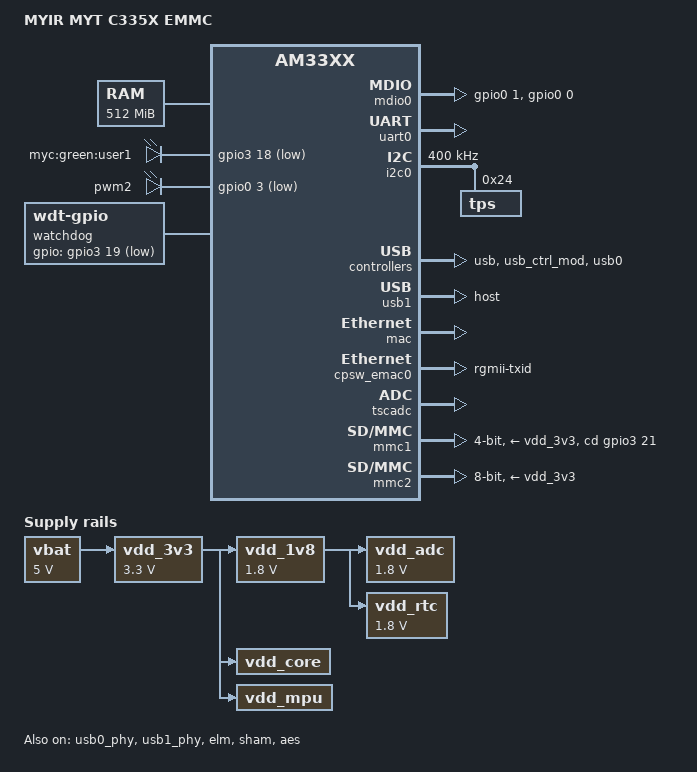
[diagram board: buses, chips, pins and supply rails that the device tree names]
/*
 * Copyright (C) 2012 Texas Instruments Incorporated - http://www.ti.com/
 *
 * This program is free software; you can redistribute it and/or modify
 * it under the terms of the GNU General Public License version 2 as
 * published by the Free Software Foundation.
 */
/dts-v1/;

#include "am33xx.dtsi"
#include <dt-bindings/interrupt-controller/irq.h>

/ {
	model = "MYIR MYT C335X EMMC";
	compatible = "ti,myt_c335x", "ti,am33xx";

	cpus {
		cpu@0 {
			cpu0-supply = <&vdd_core>;
		};
	};

	memory {
		device_type = "memory";
		reg = <0x80000000 0x20000000>; /* 512 MB */
	};

	vbat: fixedregulator@0 {
		compatible = "regulator-fixed";
		regulator-name = "vbat";
		regulator-min-microvolt = <5000000>;
		regulator-max-microvolt = <5000000>;
		regulator-boot-on;
		regulator-always-on;
	};
	
	vdd_3v3: fixedregulator@1{
		compatible = "regulator-fixed";
		regulator-name = "vdd_3v3";
		regulator-min-microvolt = <3300000>;
		regulator-max-microvolt = <3300000>;
		vin-supply = <&vbat>;
		regulator-boot-on;
		regulator-always-on;
		};
	
	vdd_1v8: fixedregulator@2{
		compatible = "regulator-fixed";
		regulator-name = "vdd_1v8";
		regulator-min-microvolt = <1800000>;
		regulator-max-microvolt = <1800000>;
		vin-supply = <&vdd_3v3>;
		regulator-boot-on;
		regulator-always-on;
		};
	
	vdd_core: fixedregulator@4{
		compatible = "regulator-fixed";
		regulator-name = "vdd_core";
		vin-supply = <&vdd_3v3>;
		regulator-boot-on;
		regulator-always-on;
		};
	
	vdd_mpu: fixedregulator@5{
		compatible = "regulator-fixed";
		regulator-name = "vdd_mpu";
		vin-supply = <&vdd_3v3>;
		regulator-boot-on;
		regulator-always-on;
		};
	
	vdd_adc: fixedregulator@6{
		compatible = "regulator-fixed";
		regulator-name = "vdd_adc";
		regulator-min-microvolt = <1800000>;
		regulator-max-microvolt = <1800000>;
		vin-supply = <&vdd_1v8>;
		regulator-boot-on;
		regulator-always-on;
		};
	
	vdd_rtc: fixedregulator@7{
		compatible = "regulator-fixed";
		regulator-name = "vdd_rtc";
		regulator-min-microvolt = <1800000>;
		regulator-max-microvolt = <1800000>;
		vin-supply = <&vdd_1v8>;
		regulator-boot-on;
		regulator-always-on;
		};


	gpio-leds {
		compatible = "gpio-leds";
		pinctrl-names = "default";
		pinctrl-0 = <&leds_pins>;

		D3 {
			label = "myc:green:user1";
			gpios = <&gpio3 18 GPIO_ACTIVE_LOW>;
			linux,default-trigger = "cpu0";
			default-state = "off";
		};

//		PWM1 {
//			label = "pwm1";
//			gpios = <&gpio0 2 GPIO_ACTIVE_LOW>;
//			default-state = "off";
//		};

		PWM2 {
			label = "pwm2";
			gpios = <&gpio0 3 GPIO_ACTIVE_LOW>;
			default-state = "off";
		};
	};

	watchdog: watchdog {
		/* CAT823T */
		compatible = "linux,wdt-gpio";
		pinctrl-names = "default";
		pinctrl-0 = <&watchdog_pins>;
		gpios = <&gpio3 19 GPIO_ACTIVE_LOW>;
		hw_algo = "toggle";
		always-running;
		hw_margin_ms = <1000>;
	};
	
	aliases { mdio-gpio0 = &mdio0; };
	mdio0: mdio{
		compatible = "virtual,mdio-gpio";
		pinctrl-names = "default", "sleep";
		pinctrl-0 = <&davinci_mdio_default>;
		pinctrl-1 = <&davinci_mdio_sleep>;
	
		#address-cells = <1>;
		#size-cells = <0>;
		gpios = <&gpio0 1  GPIO_ACTIVE_HIGH>, <&gpio0 0 GPIO_ACTIVE_HIGH>; 
	}; 
	
	
};

&am33xx_pinmux {
	pinctrl-names = "default";
	pinctrl-0 = <&gpio_pins_default>;
	
	watchdog_pins: pinmux_watchdog_pins{
		pinctrl-single,pins = <0x1A4 ( PIN_OUTPUT_PULLDOWN | MUX_MODE7 ) /* (C13) mcasp0_fsr.gpio3[19] */>;
	};


	gpio_pins_default: gpio_pins_default {
	pinctrl-single,pins = <
// 0
//		0x148 ( PIN_INPUT_PULLUP | MUX_MODE7 ) /* (M17) mdio_data.gpio0[0] */
//		0x14c ( PIN_INPUT_PULLUP | MUX_MODE7 ) /* (M18) mdio_clk.gpio0[1] */
		0x150 ( PIN_INPUT_PULLUP | MUX_MODE7 ) /* (A17) spi0_sclk.gpio0[2] */
//		0x154 ( PIN_INPUT_PULLUP | MUX_MODE7 ) /* (B17) spi0_d0.gpio0[3] */
		0x158 ( PIN_INPUT_PULLUP | MUX_MODE7 ) /* (B16) spi0_d1.gpio0[4] */
		0x15c ( PIN_INPUT_PULLUP | MUX_MODE7 ) /* (A16) spi0_cs0.gpio0[5] */
		0x160 ( PIN_INPUT_PULLUP | MUX_MODE7 ) /* (C15) spi0_cs1.gpio0[6] */
		0x164 ( PIN_INPUT_PULLUP | MUX_MODE7 ) /* (C18) eCAP0_in_PWM0_out.gpio0[7] */
		0xd0 ( PIN_INPUT_PULLUP | MUX_MODE7 ) /* (V2) lcd_data12.gpio0[8] */
		0xd4 ( PIN_INPUT_PULLUP | MUX_MODE7 ) /* (V3) lcd_data13.gpio0[9] */
		0xd8 ( PIN_INPUT_PULLUP | MUX_MODE7 ) /* (V4) lcd_data14.gpio0[10] */
		0xdc ( PIN_INPUT_PULLUP | MUX_MODE7 ) /* (T5) lcd_data15.gpio0[11] */
		0x178 ( PIN_INPUT_PULLUP | MUX_MODE7 ) /* (D18) uart1_ctsn.gpio0[12] */
		0x17c ( PIN_INPUT_PULLUP | MUX_MODE7 ) /* (D17) uart1_rtsn.gpio0[13] */
		0x180 ( PIN_INPUT_PULLUP | MUX_MODE7 ) /* (D16) uart1_rxd.gpio0[14] */
		0x184 ( PIN_INPUT_PULLUP | MUX_MODE7 ) /* (D15) uart1_txd.gpio0[15] */
		0x21c ( PIN_INPUT_PULLUP | MUX_MODE7 ) /* (F16) USB0_DRVVBUS.gpio0[18] */
		0x1b0 ( PIN_INPUT_PULLUP | MUX_MODE7 ) /* (A15) xdma_event_intr0.gpio0[19] */
//		0x1b4 ( PIN_INPUT_PULLUP | MUX_MODE7 ) /* (D14) xdma_event_intr1.gpio0[20] */
		0x20 ( PIN_INPUT_PULLUP | MUX_MODE7 ) /* (U10) gpmc_ad8.gpio0[22] */
		0x24 ( PIN_INPUT_PULLUP | MUX_MODE7 ) /* (T10) gpmc_ad9.gpio0[23] */
		0x28 ( PIN_INPUT_PULLUP | MUX_MODE7 ) /* (T11) gpmc_ad10.gpio0[26] */
		0x2c ( PIN_INPUT_PULLUP | MUX_MODE7 ) /* (U12) gpmc_ad11.gpio0[27] */
		0x144 ( PIN_INPUT_PULLUP | MUX_MODE7 ) /* (H18) rmii1_refclk.gpio0[29] */
		0x70 ( PIN_INPUT_PULLUP | MUX_MODE7 ) /* (T17) gpmc_wait0.gpio0[30] */
		0x74 ( PIN_INPUT_PULLUP | MUX_MODE7 ) /* (U17) gpmc_wpn.gpio0[31] */
// 1
//		0x1c ( PIN_INPUT_PULLUP | MUX_MODE7 ) /* (T9) gpmc_ad7.gpio1[7] */
		0x168 ( PIN_INPUT_PULLUP | MUX_MODE7 ) /* (E18) uart0_ctsn.gpio1[8] */
		0x16c ( PIN_INPUT_PULLUP | MUX_MODE7 ) /* (E17) uart0_rtsn.gpio1[9] */
		0x30 ( PIN_INPUT_PULLUP | MUX_MODE7 ) /* (T12) gpmc_ad12.gpio1[12] */
		0x34 ( PIN_INPUT_PULLUP | MUX_MODE7 ) /* (R12) gpmc_ad13.gpio1[13] */
		0x38 ( PIN_INPUT_PULLUP | MUX_MODE7 ) /* (V13) gpmc_ad14.gpio1[14] */
		0x3c ( PIN_INPUT_PULLUP | MUX_MODE7 ) /* (U13) gpmc_ad15.gpio1[15] */
		0x40 ( PIN_INPUT_PULLUP | MUX_MODE7 ) /* (R13) gpmc_a0.gpio1[16] */
		0x44 ( PIN_INPUT_PULLUP | MUX_MODE7 ) /* (V14) gpmc_a1.gpio1[17] */
		0x48 ( PIN_INPUT_PULLUP | MUX_MODE7 ) /* (U14) gpmc_a2.gpio1[18] */
		0x4c ( PIN_INPUT_PULLUP | MUX_MODE7 ) /* (T14) gpmc_a3.gpio1[19] */
		0x50 ( PIN_INPUT_PULLUP | MUX_MODE7 ) /* (R14) gpmc_a4.gpio1[20] */
		0x54 ( PIN_INPUT_PULLUP | MUX_MODE7 ) /* (V15) gpmc_a5.gpio1[21] */
		0x58 ( PIN_INPUT_PULLUP | MUX_MODE7 ) /* (U15) gpmc_a6.gpio1[22] */
		0x5c ( PIN_INPUT_PULLUP | MUX_MODE7 ) /* (T15) gpmc_a7.gpio1[23] */
		0x60 ( PIN_INPUT_PULLUP | MUX_MODE7 ) /* (V16) gpmc_a8.gpio1[24] */
		0x64 ( PIN_INPUT_PULLUP | MUX_MODE7 ) /* (U16) gpmc_a9.gpio1[25] */
		0x68 ( PIN_INPUT_PULLUP | MUX_MODE7 ) /* (T16) gpmc_a10.gpio1[26] */
		0x6c ( PIN_INPUT_PULLUP | MUX_MODE7 ) /* (V17) gpmc_a11.gpio1[27] */
// 2
		0x88 ( PIN_INPUT_PULLUP | MUX_MODE7 ) /* (T13) gpmc_csn3.gpio2[0] */
		0x8c ( PIN_INPUT_PULLUP | MUX_MODE7 ) /* (V12) gpmc_clk.gpio2[1] */
		0x90 ( PIN_INPUT_PULLUP | MUX_MODE7 ) /* (R7) gpmc_advn_ale.gpio2[2] */
		0x94 ( PIN_INPUT_PULLUP | MUX_MODE7 ) /* (T7) gpmc_oen_ren.gpio2[3] */
		0x98 ( PIN_INPUT_PULLUP | MUX_MODE7 ) /* (U6) gpmc_wen.gpio2[4] */
		0x9c ( PIN_INPUT_PULLUP | MUX_MODE7 ) /* (T6) gpmc_be0n_cle.gpio2[5] */
		0xa0 ( PIN_INPUT_PULLUP | MUX_MODE7 ) /* (R1) lcd_data0.gpio2[6] */
		0xa4 ( PIN_INPUT_PULLUP | MUX_MODE7 ) /* (R2) lcd_data1.gpio2[7] */
		0xa8 ( PIN_INPUT_PULLUP | MUX_MODE7 ) /* (R3) lcd_data2.gpio2[8] */
		0xac ( PIN_INPUT_PULLUP | MUX_MODE7 ) /* (R4) lcd_data3.gpio2[9] */
		0xb0 ( PIN_INPUT_PULLUP | MUX_MODE7 ) /* (T1) lcd_data4.gpio2[10] */
		0xb4 ( PIN_INPUT_PULLUP | MUX_MODE7 ) /* (T2) lcd_data5.gpio2[11] */
		0xb8 ( PIN_INPUT_PULLUP | MUX_MODE7 ) /* (T3) lcd_data6.gpio2[12] */
		0xbc ( PIN_INPUT_PULLUP | MUX_MODE7 ) /* (T4) lcd_data7.gpio2[13] */
		0xc0 ( PIN_INPUT_PULLUP | MUX_MODE7 ) /* (U1) lcd_data8.gpio2[14] */
		0xc4 ( PIN_INPUT_PULLUP | MUX_MODE7 ) /* (U2) lcd_data9.gpio2[15] */
		0xc8 ( PIN_INPUT_PULLUP | MUX_MODE7 ) /* (U3) lcd_data10.gpio2[16] */
		0xcc ( PIN_INPUT_PULLUP | MUX_MODE7 ) /* (U4) lcd_data11.gpio2[17] */
		0xe0 ( PIN_INPUT_PULLUP | MUX_MODE7 ) /* (U5) lcd_vsync.gpio2[22] */
		0xe4 ( PIN_INPUT_PULLUP | MUX_MODE7 ) /* (R5) lcd_hsync.gpio2[23] */
		0xe8 ( PIN_INPUT_PULLUP | MUX_MODE7 ) /* (V5) lcd_pclk.gpio2[24] */
		0xec ( PIN_INPUT_PULLUP | MUX_MODE7 ) /* (R6) lcd_ac_bias_en.gpio2[25] */
// 3
		0x108 ( PIN_INPUT_PULLUP | MUX_MODE7 ) /* (H16) gmii1_col.gpio3[0] */
		0x10c ( PIN_INPUT_PULLUP | MUX_MODE7 ) /* (H17) gmii1_crs.gpio3[1] */
		0x110 ( PIN_INPUT_PULLUP | MUX_MODE7 ) /* (J15) gmii1_rxer.gpio3[2] */
		0x1e4 ( PIN_INPUT_PULLUP | MUX_MODE7 ) /* (C14) EMU0.gpio3[7] */
		0x1e8 ( PIN_INPUT_PULLUP | MUX_MODE7 ) /* (B14) EMU1.gpio3[8] */
		0x234 ( PIN_INPUT_PULLUP | MUX_MODE7 ) /* (F15) USB1_DRVVBUS.gpio3[13] */
		0x190 ( PIN_INPUT_PULLUP | MUX_MODE7 ) /* (A13) mcasp0_aclkx.gpio3[14] */
		0x194 ( PIN_INPUT_PULLUP | MUX_MODE7 ) /* (B13) mcasp0_fsx.gpio3[15] */
		0x198 ( PIN_INPUT_PULLUP | MUX_MODE7 ) /* (D12) mcasp0_axr0.gpio3[16] */
		0x19c ( PIN_INPUT_PULLUP | MUX_MODE7 ) /* (C12) mcasp0_ahclkr.gpio3[17] */
//		0x1a0 ( PIN_INPUT_PULLUP | MUX_MODE7 ) /* (B12) mcasp0_aclkr.gpio3[18] */
//		0x1a4 ( PIN_INPUT_PULLUP | MUX_MODE7 ) /* (C13) mcasp0_fsr.gpio3[19] */
		0x1a8 ( PIN_INPUT_PULLUP | MUX_MODE7 ) /* (D13) mcasp0_axr1.gpio3[20] */
	>;
};
	leds_pins: pinmux_leds_pins {
		pinctrl-single,pins = <
//		0x150 ( PIN_OUTPUT_PULLDOWN | MUX_MODE7 ) /* (A17) spi0_sclk.gpio0[2] */
		0x154 ( PIN_OUTPUT_PULLDOWN | MUX_MODE7 ) /* (B17) spi0_d0.gpio0[3] */
		0x1A0 ( PIN_OUTPUT_PULLDOWN | MUX_MODE7)  /* (B12) mcasp0_aclkr.gpio3[18] */
		>;
	};
	
	i2c0_pins: pinmux_i2c0_pins {
		pinctrl-single,pins = <
			0x188 (PIN_INPUT_PULLUP | MUX_MODE0)	/* i2c0_sda.i2c0_sda */
			0x18c (PIN_INPUT_PULLUP | MUX_MODE0)	/* i2c0_scl.i2c0_scl */
		>;
	};

	uart0_pins: pinmux_uart0_pins {
		pinctrl-single,pins = <
			0x170 (PIN_INPUT_PULLUP | MUX_MODE0)	/* uart0_rxd.uart0_rxd */
			0x174 (PIN_OUTPUT_PULLDOWN | MUX_MODE0)	/* uart0_txd.uart0_txd */
		>;
	};

	nandflash_pins_default: nandflash_pins_default {
		pinctrl-single,pins = <
			0x0 (PIN_INPUT_PULLUP | MUX_MODE0)	/* gpmc_ad0.gpmc_ad0 */
			0x4 (PIN_INPUT_PULLUP | MUX_MODE0)	/* gpmc_ad1.gpmc_ad1 */
			0x8 (PIN_INPUT_PULLUP | MUX_MODE0)	/* gpmc_ad2.gpmc_ad2 */
			0xc (PIN_INPUT_PULLUP | MUX_MODE0)	/* gpmc_ad3.gpmc_ad3 */
			0x10 (PIN_INPUT_PULLUP | MUX_MODE0)	/* gpmc_ad4.gpmc_ad4 */
			0x14 (PIN_INPUT_PULLUP | MUX_MODE0)	/* gpmc_ad5.gpmc_ad5 */
			0x18 (PIN_INPUT_PULLUP | MUX_MODE0)	/* gpmc_ad6.gpmc_ad6 */
			0x1c (PIN_INPUT_PULLUP | MUX_MODE0)	/* gpmc_ad7.gpmc_ad7 */
			0x70 (PIN_INPUT_PULLUP | MUX_MODE0)	/* gpmc_wait0.gpmc_wait0 */
			0x74 (PIN_INPUT_PULLUP | MUX_MODE7)	/* gpmc_wpn.gpio0_30 */
			0x7c (PIN_OUTPUT | MUX_MODE0)		/* gpmc_csn0.gpmc_csn0  */
			0x90 (PIN_OUTPUT | MUX_MODE0)		/* gpmc_advn_ale.gpmc_advn_ale */
			0x94 (PIN_OUTPUT | MUX_MODE0)		/* gpmc_oen_ren.gpmc_oen_ren */
			0x98 (PIN_OUTPUT | MUX_MODE0)		/* gpmc_wen.gpmc_wen */
			0x9c (PIN_OUTPUT | MUX_MODE0)		/* gpmc_be0n_cle.gpmc_be0n_cle */
		>;
	};

	nandflash_pins_sleep: nandflash_pins_sleep {
		pinctrl-single,pins = <
			0x0 (PIN_INPUT_PULLDOWN | MUX_MODE7)
			0x4 (PIN_INPUT_PULLDOWN | MUX_MODE7)
			0x8 (PIN_INPUT_PULLDOWN | MUX_MODE7)
			0xc (PIN_INPUT_PULLDOWN | MUX_MODE7)
			0x10 (PIN_INPUT_PULLDOWN | MUX_MODE7)
			0x14 (PIN_INPUT_PULLDOWN | MUX_MODE7)
			0x18 (PIN_INPUT_PULLDOWN | MUX_MODE7)
			0x1c (PIN_INPUT_PULLDOWN | MUX_MODE7)
			0x70 (PIN_INPUT_PULLDOWN | MUX_MODE7)
			0x74 (PIN_INPUT_PULLDOWN | MUX_MODE7)
			0x7c (PIN_INPUT_PULLDOWN | MUX_MODE7)
			0x90 (PIN_INPUT_PULLDOWN | MUX_MODE7)
			0x94 (PIN_INPUT_PULLDOWN | MUX_MODE7)
			0x98 (PIN_INPUT_PULLDOWN | MUX_MODE7)
			0x9c (PIN_INPUT_PULLDOWN | MUX_MODE7)
		>;
	};

	cpsw_default: cpsw_default {
		pinctrl-single,pins = <
			/* Slave 1 */
			0x114 (PIN_OUTPUT_PULLDOWN | MUX_MODE2)	/* mii1_txen.rgmii1_tctl */
			0x118 (PIN_INPUT_PULLDOWN | MUX_MODE2)	/* mii1_rxdv.rgmii1_rctl */
			0x11c (PIN_OUTPUT_PULLDOWN | MUX_MODE2)	/* mii1_txd3.rgmii1_td3 */
			0x120 (PIN_OUTPUT_PULLDOWN | MUX_MODE2)	/* mii1_txd2.rgmii1_td2 */
			0x124 (PIN_OUTPUT_PULLDOWN | MUX_MODE2)	/* mii1_txd1.rgmii1_td1 */
			0x128 (PIN_OUTPUT_PULLDOWN | MUX_MODE2)	/* mii1_txd0.rgmii1_td0 */
			0x12c (PIN_OUTPUT_PULLDOWN | MUX_MODE2)	/* mii1_txclk.rgmii1_tclk */
			0x130 (PIN_INPUT_PULLDOWN | MUX_MODE2)	/* mii1_rxclk.rgmii1_rclk */
			0x134 (PIN_INPUT_PULLDOWN | MUX_MODE2)	/* mii1_rxd3.rgmii1_rd3 */
			0x138 (PIN_INPUT_PULLDOWN | MUX_MODE2)	/* mii1_rxd2.rgmii1_rd2 */
			0x13c (PIN_INPUT_PULLDOWN | MUX_MODE2)	/* mii1_rxd1.rgmii1_rd1 */
			0x140 (PIN_INPUT_PULLDOWN | MUX_MODE2)	/* mii1_rxd0.rgmii1_rd0 */
		>;
	};

	cpsw_sleep: cpsw_sleep {
		pinctrl-single,pins = <
			/* Slave 1 reset value */
			0x114 (PIN_INPUT_PULLDOWN | MUX_MODE7)
			0x118 (PIN_INPUT_PULLDOWN | MUX_MODE7)
			0x11c (PIN_INPUT_PULLDOWN | MUX_MODE7)
			0x120 (PIN_INPUT_PULLDOWN | MUX_MODE7)
			0x124 (PIN_INPUT_PULLDOWN | MUX_MODE7)
			0x128 (PIN_INPUT_PULLDOWN | MUX_MODE7)
			0x12c (PIN_INPUT_PULLDOWN | MUX_MODE7)
			0x130 (PIN_INPUT_PULLDOWN | MUX_MODE7)
			0x134 (PIN_INPUT_PULLDOWN | MUX_MODE7)
			0x138 (PIN_INPUT_PULLDOWN | MUX_MODE7)
			0x13c (PIN_INPUT_PULLDOWN | MUX_MODE7)
			0x140 (PIN_INPUT_PULLDOWN | MUX_MODE7)
		>;
	};

	davinci_mdio_default: davinci_mdio_default {
		pinctrl-single,pins = <
			/* MDIO */
			0x148 (PIN_INPUT_PULLUP | SLEWCTRL_FAST | MUX_MODE7)	/* mdio_data.mdio_data */
			0x14c (PIN_OUTPUT_PULLUP | MUX_MODE7)			/* mdio_clk.mdio_clk */
		>;
	};

	davinci_mdio_sleep: davinci_mdio_sleep {
		pinctrl-single,pins = <
			/* MDIO reset value */
			0x148 (PIN_INPUT_PULLDOWN | MUX_MODE7)
			0x14c (PIN_INPUT_PULLDOWN | MUX_MODE7)
		>;
	};

	mmc1_pins_default: pinmux_mmc1_pins {
		pinctrl-single,pins = <
			0x0F0 (PIN_INPUT_PULLUP | MUX_MODE0)    /* mmc0_dat3.mmc0_dat3 */
			0x0F4 (PIN_INPUT_PULLUP | MUX_MODE0)    /* mmc0_dat2.mmc0_dat2 */
			0x0F8 (PIN_INPUT_PULLUP | MUX_MODE0)    /* mmc0_dat1.mmc0_dat1 */
			0x0FC (PIN_INPUT_PULLUP | MUX_MODE0)    /* mmc0_dat0.mmc0_dat0 */
			0x100 (PIN_INPUT_PULLUP | MUX_MODE0)    /* mmc0_clk.mmc0_clk */
			0x104 (PIN_INPUT_PULLUP | MUX_MODE0)    /* mmc0_cmd.mmc0_cmd */
			0x1AC (PIN_INPUT_PULLUP | MUX_MODE7)    /* mcasp0_ahclkx.gpio3_21 */
			
		>;
	};

	mmc1_pins_sleep: pinmux_mmc1_pins_sleep {
		pinctrl-single,pins = <
			0x0F0 (PIN_INPUT_PULLDOWN | MUX_MODE7)
			0x0F4 (PIN_INPUT_PULLDOWN | MUX_MODE7)
			0x0F8 (PIN_INPUT_PULLDOWN | MUX_MODE7)
			0x0FC (PIN_INPUT_PULLDOWN | MUX_MODE7)
			0x100 (PIN_INPUT_PULLDOWN | MUX_MODE7)
			0x104 (PIN_INPUT_PULLDOWN | MUX_MODE7)
			0x1AC (PIN_INPUT_PULLDOWN | MUX_MODE7)
		>;
	};
	
	emmc_pins: pinmux_emmc {
		pinctrl-single,pins = <
			0x80 (PIN_INPUT_PULLUP | MUX_MODE2)	/* gpmc_csn1.mmc1_clk */
			0x84 (PIN_INPUT_PULLUP | MUX_MODE2)	/* gpmc_csn2.mmc1_cmd */
			0x00 (PIN_INPUT_PULLUP | MUX_MODE1)	/* gpmc_ad0.mmc1_dat0 */
			0x04 (PIN_INPUT_PULLUP | MUX_MODE1)	/* gpmc_ad1.mmc1_dat1 */
			0x08 (PIN_INPUT_PULLUP | MUX_MODE1)	/* gpmc_ad2.mmc1_dat2 */
			0x0c (PIN_INPUT_PULLUP | MUX_MODE1)	/* gpmc_ad3.mmc1_dat3 */
			0x10 (PIN_INPUT_PULLUP | MUX_MODE1)	/* gpmc_ad4.mmc1_dat4 */
			0x14 (PIN_INPUT_PULLUP | MUX_MODE1)	/* gpmc_ad5.mmc1_dat5 */
			0x18 (PIN_INPUT_PULLUP | MUX_MODE1)	/* gpmc_ad6.mmc1_dat6 */
			0x1c (PIN_INPUT_PULLUP | MUX_MODE1)	/* gpmc_ad7.mmc1_dat7 */
			/* EMMC nReset */
			0x78 (PIN_OUTPUT_PULLUP | MUX_MODE7)	/* gpmc_wpn.gpio1_28 */
		>;
	};
};
&gpio0 {
	status = "okay";
};
&gpio1 {
	status = "okay";
};
&gpio2 {
	status = "okay";
};
&gpio3 {
	status = "okay";
};

&uart0 {
	pinctrl-names = "default";
	pinctrl-0 = <&uart0_pins>;
	status = "okay";
};

&i2c0 {
	pinctrl-names = "default";
	pinctrl-0 = <&i2c0_pins>;

	status = "okay";
	clock-frequency = <400000>;

	tps: tps@2d {
		reg = <0x24>;
	};
};

&usb {
	status = "okay";
};

&usb_ctrl_mod {
	status = "okay";
};

&usb0_phy {
	status = "okay";
};

&usb1_phy {
	status = "okay";
};

&usb0 {
	status = "okay";
};

&usb1 {
	status = "okay";
	dr_mode = "host";
};

&cppi41dma  {
	status = "okay";
};

&elm {
	status = "okay";
};

&gpmc {
	status = "disabled";
	pinctrl-names = "default", "sleep";
	pinctrl-0 = <&nandflash_pins_default>;
	pinctrl-1 = <&nandflash_pins_sleep>;
	ranges = <0 0 0x08000000 0x1000000>;	/* CS0: 16MB for NAND */
	nand@0,0 {
		compatible = "ti,omap2-nand";
		reg = <0 0 4>; /* CS0, offset 0, IO size 4 */
		interrupt-parent = <&intc>;
		interrupts = <100>;
		ready-gpio = <&gpmc 0 GPIO_ACTIVE_HIGH>; /* gpmc_wait0 */
		ti,nand-ecc-opt = "bch8";
		ti,elm-id = <&elm>;
		nand-bus-width = <8>;
		gpmc,device-width = <1>;
		gpmc,sync-clk-ps = <0>;
		gpmc,cs-on-ns = <0>;
		gpmc,cs-rd-off-ns = <44>;
		gpmc,cs-wr-off-ns = <44>;
		gpmc,adv-on-ns = <6>;
		gpmc,adv-rd-off-ns = <34>;
		gpmc,adv-wr-off-ns = <44>;
		gpmc,we-on-ns = <0>;
		gpmc,we-off-ns = <40>;
		gpmc,oe-on-ns = <0>;
		gpmc,oe-off-ns = <54>;
		gpmc,access-ns = <64>;
		gpmc,rd-cycle-ns = <82>;
		gpmc,wr-cycle-ns = <82>;
		gpmc,bus-turnaround-ns = <0>;
		gpmc,cycle2cycle-delay-ns = <0>;
		gpmc,clk-activation-ns = <0>;
		gpmc,wr-access-ns = <40>;
		gpmc,wr-data-mux-bus-ns = <0>;
		/* MTD partition table */
		/* All SPL-* partitions are sized to minimal length
		 * which can be independently programmable. For
		 * NAND flash this is equal to size of erase-block */
		#address-cells = <1>;
		#size-cells = <1>;
		partition@0 {
			label = "NAND.SPL";
			reg = <0x00000000 0x000020000>;
		};
		partition@1 {
			label = "NAND.SPL.backup1";
			reg = <0x00020000 0x00020000>;
		};
		partition@2 {
			label = "NAND.SPL.backup2";
			reg = <0x00040000 0x00020000>;
		};
		partition@3 {
			label = "NAND.SPL.backup3";
			reg = <0x00060000 0x00020000>;
		};
		partition@4 {
			label = "NAND.u-boot-spl-os";
			reg = <0x00080000 0x00040000>;
		};
		partition@5 {
			label = "NAND.u-boot";
			reg = <0x000C0000 0x00100000>;
		};
		partition@6 {
			label = "NAND.u-boot-env";
			reg = <0x001C0000 0x00020000>;
		};
		partition@7 {
			label = "NAND.u-boot-env.backup1";
			reg = <0x001E0000 0x00020000>;
		};
		partition@8 {
			label = "NAND.kernel";
			reg = <0x00200000 0x00800000>;
		};
		partition@9 {
			label = "NAND.rootfs";
			reg = <0x00A00000 0x0D600000>;
		};
		partition@10 {
			label = "NAND.userdata";
			reg = <0x0E000000 0>;
		};		
	};
};


&mac {
	pinctrl-names = "default", "sleep";
	pinctrl-0 = <&cpsw_default>;
	pinctrl-1 = <&cpsw_sleep>;
//	dual_emac = <1>;
//	active_slave = <1>;
	status = "okay";
};

//&davinci_mdio {
//	pinctrl-names = "default", "sleep";
//	pinctrl-0 = <&davinci_mdio_default>;
//	pinctrl-1 = <&davinci_mdio_sleep>;
//	status = "okay";
//};

&cpsw_emac0 {
	phy_id = <&mdio0>, <4>;
	phy-mode = "rgmii-txid";
//	dual_emac_res_vlan=<0>;
};

&tscadc {
	status = "okay";

	adc {
		ti,adc-channels = <0 1 2 3 4 5 6 7>;
	};
};

&mmc1 {
	status = "okay";
	vmmc-supply = <&vdd_3v3>;
	bus-width = <4>;
	pinctrl-names = "default", "sleep";
	pinctrl-0 = <&mmc1_pins_default>;
	pinctrl-1 = <&mmc1_pins_sleep>;
	cd-gpios = <&gpio3 21 GPIO_ACTIVE_HIGH>;
};

&mmc2 {
	/* eMMC (not populated) on MMC #2 */
	status = "okay";
	pinctrl-names = "default";
	pinctrl-0 = <&emmc_pins>;
	vmmc-supply = <&vdd_3v3>;
	bus-width = <8>;
	ti,non-removable;
};

&sham {
	status = "okay";
};

&aes {
	status = "okay";
};

&gpio0 {
	status = "okay";
	ti,no-reset-on-init;
};

&gpio1 {
	status = "okay";
	ti,no-reset-on-init;
};

&gpio2 {
	status = "okay";
	ti,no-reset-on-init;
};

&gpio3 {
	status = "okay";
	ti,no-reset-on-init;
};

&wkup_m3_ipc {
	ti,scale-data-fw = "am335x-evm-scale-data.bin";
};

&rtc {
	system-power-controller;
};

&sgx {
	status = "disabled";
};
